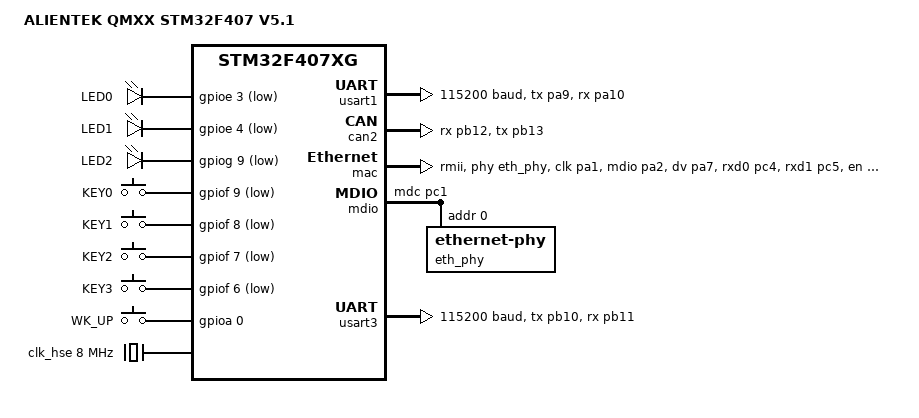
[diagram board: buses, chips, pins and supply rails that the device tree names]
/*
 * 启明欣欣 STM32F407(高配版V5.1) 开发板 — STM32F407ZGT6
 * HSE 8MHz → 168MHz；console = USART1(PA9/PA10, 板载 CH340)
 */
/dts-v1/;
#include <st/f4/stm32f407Xg.dtsi>
#include <st/f4/stm32f407z(e-g)tx-pinctrl.dtsi>
#include <zephyr/dt-bindings/gpio/gpio.h>
#include <zephyr/dt-bindings/input/input-event-codes.h>

/ {
	model = "ALIENTEK QMXX STM32F407 V5.1";
	compatible = "alientek,qmxx-f407zg";

	chosen {
		zephyr,console = &usart1;
		zephyr,shell-uart = &usart1;
		zephyr,sram = &sram0;
		zephyr,flash = &flash0;
		zephyr,dtcm = &ccm0;
	};

	leds {
		compatible = "gpio-leds";

		led0: led_0 {
			gpios = <&gpioe 3 GPIO_ACTIVE_LOW>;
			label = "LED0";
		};
		led1: led_1 {
			gpios = <&gpioe 4 GPIO_ACTIVE_LOW>;
			label = "LED1";
		};
		led2: led_2 {
			gpios = <&gpiog 9 GPIO_ACTIVE_LOW>;
			label = "LED2";
		};
	};

	gpio_keys {
		compatible = "gpio-keys";

		key0: key_0 {
			gpios = <&gpiof 9 (GPIO_ACTIVE_LOW | GPIO_PULL_UP)>;
			label = "KEY0";
			zephyr,code = <INPUT_KEY_0>;
		};
		key1: key_1 {
			gpios = <&gpiof 8 (GPIO_ACTIVE_LOW | GPIO_PULL_UP)>;
			label = "KEY1";
			zephyr,code = <INPUT_KEY_1>;
		};
		key2: key_2 {
			gpios = <&gpiof 7 (GPIO_ACTIVE_LOW | GPIO_PULL_UP)>;
			label = "KEY2";
			zephyr,code = <INPUT_KEY_2>;
		};
		key3: key_3 {
			gpios = <&gpiof 6 (GPIO_ACTIVE_LOW | GPIO_PULL_UP)>;
			label = "KEY3";
			zephyr,code = <INPUT_KEY_3>;
		};
		wkup: key_wkup {
			gpios = <&gpioa 0 GPIO_ACTIVE_HIGH>;
			label = "WK_UP";
			zephyr,code = <INPUT_KEY_WAKEUP>;
		};
	};

	aliases {
		led0 = &led0;
		led1 = &led1;
		led2 = &led2;
		sw0 = &wkup;
	};
};

&clk_hse {
	clock-frequency = <DT_FREQ_M(8)>;
	status = "okay";
};

&pll {
	div-m = <8>;
	mul-n = <336>;
	div-p = <2>;
	div-q = <7>;
	clocks = <&clk_hse>;
	status = "okay";
};

&rcc {
	clocks = <&pll>;
	clock-frequency = <DT_FREQ_M(168)>;
	ahb-prescaler = <1>;
	apb1-prescaler = <4>;
	apb2-prescaler = <2>;
};

&usart1 {
	pinctrl-0 = <&usart1_tx_pa9 &usart1_rx_pa10>;
	pinctrl-names = "default";
	current-speed = <115200>;
	status = "okay";
};

/*
 * CAN2（PB12=RX / PB13=TX）。选 CAN2 以避开 USB(PA11/12) 与以太网冲突。
 * 注：STM32 bxCAN 中 CAN2 为从机，真机运行时需 CAN1 时钟使能（CAN1 master）；
 *     本任务仅验证编译，CAN1-master 依赖在 AC3 真机 CAN 测试时一并处理。
 */
&can2 {
	pinctrl-0 = <&can2_rx_pb12 &can2_tx_pb13>;
	pinctrl-names = "default";
	status = "okay";
};

/*
 * 以太网 RMII + LAN8720A（PHY @ addr 0）。
 * REFCLK=PA1, MDIO=PA2, MDC=PC1, CRS_DV=PA7, RXD0=PC4, RXD1=PC5,
 * TX_EN=PG11, TXD0=PG13, TXD1=PG14。
 * 待真机核实（spec §7）：PHY 地址(0/1)、PHY 复位脚是否需 reset-gpios。
 */
&mac {
	status = "okay";
	pinctrl-0 = <&eth_ref_clk_pa1
		     &eth_mdio_pa2
		     &eth_crs_dv_pa7
		     &eth_rxd0_pc4
		     &eth_rxd1_pc5
		     &eth_tx_en_pg11
		     &eth_txd0_pg13
		     &eth_txd1_pg14>;
	pinctrl-names = "default";
	phy-connection-type = "rmii";
	phy-handle = <&eth_phy>;
};

&mdio {
	status = "okay";
	pinctrl-0 = <&eth_mdc_pc1>;
	pinctrl-names = "default";

	eth_phy: ethernet-phy@0 {
		compatible = "ethernet-phy";
		reg = <0x00>;
	};
};

/*
 * RS485（MAX485）数据通道 = USART3（PB10=TX / PB11=RX）。
 * 方向控制 DE/RE = PG6，由应用以普通 GPIO 控制（spec §7：DE 机制待真机核实）。
 * 选 USART3 因 USART2(PA2/PA3) 被以太网 MDIO 占用。
 */
&usart3 {
	pinctrl-0 = <&usart3_tx_pb10 &usart3_rx_pb11>;
	pinctrl-names = "default";
	current-speed = <115200>;
	status = "okay";
};
